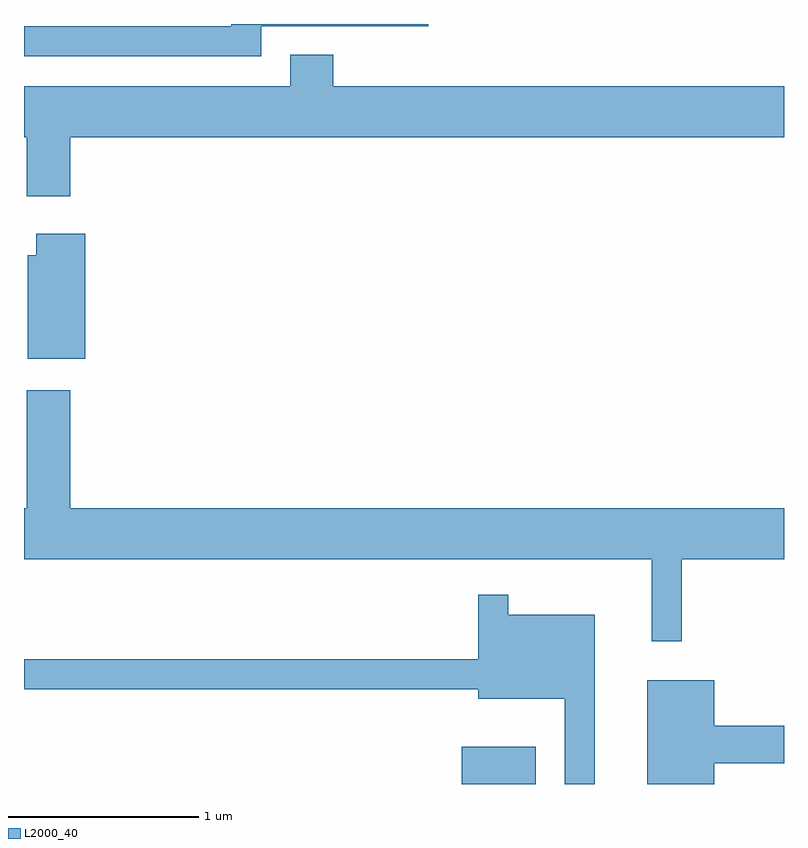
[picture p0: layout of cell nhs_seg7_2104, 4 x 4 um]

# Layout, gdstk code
import gdstk
lib = gdstk.Library(unit=1e-6, precision=1e-09)
def R(c, l, rs):  # rectangles x0, y0, x1, y1
    for r in rs: c.add(gdstk.rectangle(r[:2], r[2:], *l))
def P(c, l, *ps):  # polygons
    for p in ps: c.add(gdstk.Polygon(p, *l))
L2000_40 = (2000, 40)

nhs_seg7_2104 = lib.new_cell('nhs_seg7_2104')
R(nhs_seg7_2104, L2000_40, [(251.916,1704.252,252.304,1704.449)])
P(nhs_seg7_2104, L2000_40, [(250.859,1708.241),(251.738,1708.241),(251.738,1708.252),(250.701,1708.252),(250.701,1708.239),(249.611,1708.239),(249.611,1708.081),(250.859,1708.081)],
  [(249.854,1707.656),(253.611,1707.656),(253.611,1707.924),(251.239,1707.924),(251.239,1708.089),(251.011,1708.089),(251.011,1707.924),(249.611,1707.924),(249.611,1707.656),(249.626,1707.656),(249.626,1707.346),(249.854,1707.346)],
  [(249.934,1707.149),(249.676,1707.149),(249.676,1707.034),(249.631,1707.034),(249.631,1706.491),(249.934,1706.491)],
  [(253.074,1705.436),(253.611,1705.436),(253.611,1705.704),(249.854,1705.704),(249.854,1706.324),(249.626,1706.324),(249.626,1705.704),(249.611,1705.704),(249.611,1705.436),(252.916,1705.436),(252.916,1705.003),(253.074,1705.003)],
  [(252.614,1705.144),(252.159,1705.144),(252.159,1705.248),(252.001,1705.248),(252.001,1704.909),(249.611,1704.909),(249.611,1704.751),(252.001,1704.751),(252.001,1704.701),(252.456,1704.701),(252.456,1704.252),(252.614,1704.252)],
  [(253.244,1704.361),(253.611,1704.361),(253.611,1704.559),(253.244,1704.559),(253.244,1704.799),(252.891,1704.799),(252.891,1704.252),(253.244,1704.252)])

lib.write_gds('nhs_seg7_2104.gds')
